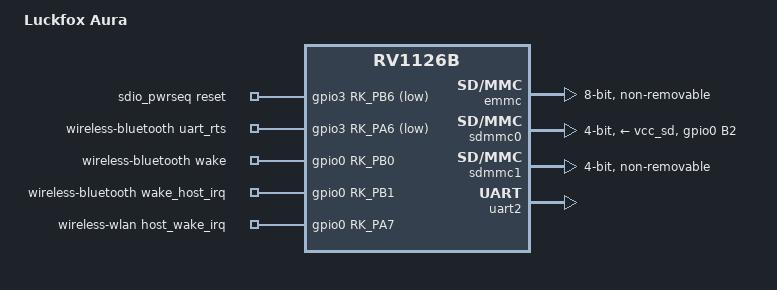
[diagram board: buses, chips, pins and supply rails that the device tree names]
// SPDX-License-Identifier: (GPL-2.0+ OR MIT)
/*
 * Copyright (c) 2025 Rockchip Electronics Co., Ltd.
 */

/dts-v1/;
#include "rv1126b.dtsi"
#include "rv1126b-aoa.dtsi"
#include "rv1126b-luckfox-aura.dtsi"
#include "rv1126b-luckfox-aura-dsi.dtsi"
/* 摄像头配置: 以下选一(都用到 dphy0/rkisp_vir0, 互斥) */
//#include "rv1126b-luckfox-aura-cam-csi0.dtsi"
//#include "rv1126b-luckfox-aura-cam-csi1.dtsi"
//#include "rv1126b-luckfox-aura-dual-cam.dtsi"                  /* 双 IMX415 开发板+原厂模组(0x37/37.125M, 配imx415.c档位A) */
//#include "rv1126b-luckfox-aura-dual-cam-daq.dtsi"            /* 双 IMX415 自研板+自研模组: i2c3/i2c4对调 + 0x1a + 27M(无硬同步版) */
#include "rv1126b-luckfox-aura-dual-cam-daq-hwsync.dtsi"       /* ★V4板当前(2026-09-04 简化启动方案): cam0主/cam1从,
                                                                  * cam0 自产 XVS+XHS(从机启动必须双信号,实验B实锤), STM32 改为捕获 XVS。
                                                                  * V2/V3 也用这行(dpts -6µs 已验证) */
//#include "rv1126b-luckfox-aura-dual-cam-daq-mcusync.dtsi"      /* 弃用: 双摄全从等 STM32 XVS——XHS 网没接 STM32, 从机永不出帧 */
//#include "rv1126b-luckfox-aura-dual-cam-devmod.dtsi"            /* 开发板接线 + 自研模组(0x1a/27M), 配imx415.c档位C */
//#include "rv1126b-luckfox-aura-imx477.dtsi"                    /* 单 IMX477 (验证用) */
//#include "rv1126b-luckfox-aura-imx477-imx415-dual.dtsi"        /* 异构双摄: IMX477(vir0)+IMX415(vir1) */
/* ★hwsync 暂勿启用(2026-08-05):它内部 #include 的是老 dual-cam.dtsi(0x37/37.125M),
 * 与上面 daq.dtsi(0x1a/27M)同开会被"后写的赢"覆盖回 37.125M → D档匹配失败不出图;
 * 且 imx415.c 的主从同步驱动还没写(见 XVS_HWSYNC_DESIGN.md)。
 * V2 硬件已把 cam0.XVS/XHS→cam1 连好,待做驱动时新建 hwsync-daq.dtsi 再启用。 */
//#include "rv1126b-luckfox-aura-dual-cam-hwsync.dtsi"           /* 双 IMX415 + XVS 硬件主从同步 (预研; 需驱动支持+硬件引出XVS) */
/* USB 配置: 自研板(无 HUSB311 Type-C 芯片)启用下行, OTG 写死从机模式;
 * 烧 Luckfox 开发板时注释掉下行(恢复 otg + Type-C 自动切换) */
#include "rv1126b-luckfox-aura-usb-peripheral.dtsi"             /* 自研板 USB peripheral;★开发板必须注释掉★(它有HUSB311,走正常OTG,写死从机会影响adb) */
/* V4 板级差异: 千兆ETH(RTL8211F/RGMII) + SD3.0(UHS/切压)。★烧 V2/V3 板时注释掉本行★ */
#include "rv1126b-luckfox-aura-v4.dtsi"

/ {
	model = "Luckfox Aura";
	compatible = "rockchip,rv1126b-evb1-v11", "rockchip,rv1126b";

	chosen {
		bootargs = "earlycon=uart8250,mmio32,0x20810000 console=ttyFIQ0 rw root=PARTUUID=614e0000-0000 rootfstype=ext4 rootwait snd_soc_core.prealloc_buffer_size_kbytes=16 coherent_pool=32K";
	};

	sdio_pwrseq: sdio-pwrseq {
		compatible = "mmc-pwrseq-simple";
		pinctrl-names = "default";
		pinctrl-0 = <&wifi_enable_h &pcm_out>;
		post-power-on-delay-ms = <200>;
		reset-gpios = <&gpio3 RK_PB6 GPIO_ACTIVE_LOW>;
	};

	wireless-bluetooth {
		compatible = "bluetooth-platdata";
		uart_rts_gpios = <&gpio3 RK_PA6 GPIO_ACTIVE_LOW>;
		pinctrl-names = "default", "rts_gpio";
		pinctrl-0 = <&uart2m0_rtsn_pins &bt_poweren_gpio>;
		pinctrl-1 = <&uart2_gpios &bt_poweren_gpio>;
		BT,wake_gpio     = <&gpio0 RK_PB0 GPIO_ACTIVE_HIGH>;
		BT,wake_host_irq = <&gpio0 RK_PB1 GPIO_ACTIVE_HIGH>;
		//BT,power_gpio     = <&gpio3 RK_PB7 GPIO_ACTIVE_HIGH>;
		status = "okay";
	};

	wireless-wlan {
		compatible = "wlan-platdata";
		rockchip,grf = <&grf>;
		pinctrl-names = "default";
		pinctrl-0 = <&wifi_wake_host>;
		WIFI,host_wake_irq = <&gpio0 RK_PA7 GPIO_ACTIVE_HIGH>;
		status = "okay";
	};
};

/**********MEDIA**********/
&emmc {
	bus-width = <8>;
	cap-mmc-highspeed;
	non-removable;
	//mmc-hs200-1_8v;
	rockchip,default-sample-phase = <90>;
	no-sdio;
	no-sd;
	status = "okay";
};

&fspi0 {
	status = "disabled";

	flash@0 {
		status = "disabled";
		compatible = "spi-nand";
		reg = <0>;
		spi-max-frequency = <40000000>;
		spi-rx-bus-width = <4>;
		spi-tx-bus-width = <1>;
	};
};

/**********SDMMC**********/
&sdmmc0 {
	/* 200M 供 V4 的 SDR104 用(本行在 include 之后, 会盖过 v4.dtsi 里的同名属性,
	 * 故直接写在这里)。V3 无 sd-uhs 能力位, 内核按 HS 档自动封顶 50M, 不受影响。 */
	max-frequency = <200000000>;
	no-sdio;
	no-mmc;
	bus-width = <4>;
	cap-mmc-highspeed;
	cap-sd-highspeed;
	disable-wp;
	vmmc-supply = <&vcc_sd>;
	vqmmc-supply = <&vccio_sd>;
	pinctrl-names = "default";

	pinctrl-0 = <&sdmmc0_clk_pins &sdmmc0_cmd_pins &sdmmc0_detn_pins &sdmmc0_bus4_pins &sdmmc0_pwren>;
	status = "okay";
};

&pinctrl {
	sdmmc0 {
		sdmmc0_pwren: sdmmc0-pwren {
			rockchip,pins = <0 RK_PB2 RK_FUNC_GPIO &pcfg_pull_down>;
		};
	};
};

/**********WiFi / BT**********/
&sdmmc1 {
	bus-width = <4>;

	cap-sd-highspeed;
	supports-highspeed;
	cap-sdio-irq;

	no-sd;
	no-mmc;
	max-frequency = <150000000>;
	pinctrl-names = "default";
	pinctrl-0 = <&sdmmc1_clk_pins &sdmmc1_cmd_pins &sdmmc1_bus4_pins>;
	disable-wp;

	keep-power-in-suspend;
	non-removable;

	mmc-pwrseq = <&sdio_pwrseq>;
	sd-uhs-sdr104;
	status = "okay";
};

&uart2 {
	status = "okay";
	pinctrl-names = "default";
	pinctrl-0 = <&uart2m0_xfer_pins &uart2m0_ctsn_pins>;
};

/**********PINCTRL**********/
&pinctrl {
	sdio-pwrseq {
		wifi_enable_h: wifi-enable-h {
			rockchip,pins = <3 RK_PB6 RK_FUNC_GPIO &pcfg_pull_up>;
		};

		pcm_out: pcm-out {
			rockchip,pins = <3 RK_PB3 RK_FUNC_GPIO &pcfg_pull_up>;
		};
	};

	wireless-bluetooth {
		uart2_gpios: uart2-gpios {
			rockchip,pins = <3 RK_PA6 RK_FUNC_GPIO &pcfg_pull_none>;
		};

		bt_poweren_gpio: bt-poweren-gpio {
			rockchip,pins = <3 RK_PB7 RK_FUNC_GPIO &pcfg_pull_up>;
		};
	};

	wireless-wlan {
		wifi_wake_host: wifi-wake-host {
			rockchip,pins = <0 RK_PA7 RK_FUNC_GPIO &pcfg_pull_up>;
		};
	};
};

/* ★UART0 用途二选一(2026-09-07)★ ★必须放在文件末尾: 它要覆盖上面 chosen 里的 bootargs, dts 后定义者胜★
 *   启用下面这行 = UART0 让给外接转接板(21 路关节 ADC, glove_daq_rv -U /dev/ttyS0), ★串口控制台消失★
 *   注释掉这行   = 恢复串口控制台(fiq_debugger @1.5Mbps)
 * 两种都要重编内核烧 boot。详见该 dtsi 头注释 + Glove 仓 RV1126B/docs/EXT_UART.md */
#include "rv1126b-luckfox-aura-uart0-data.dtsi"
